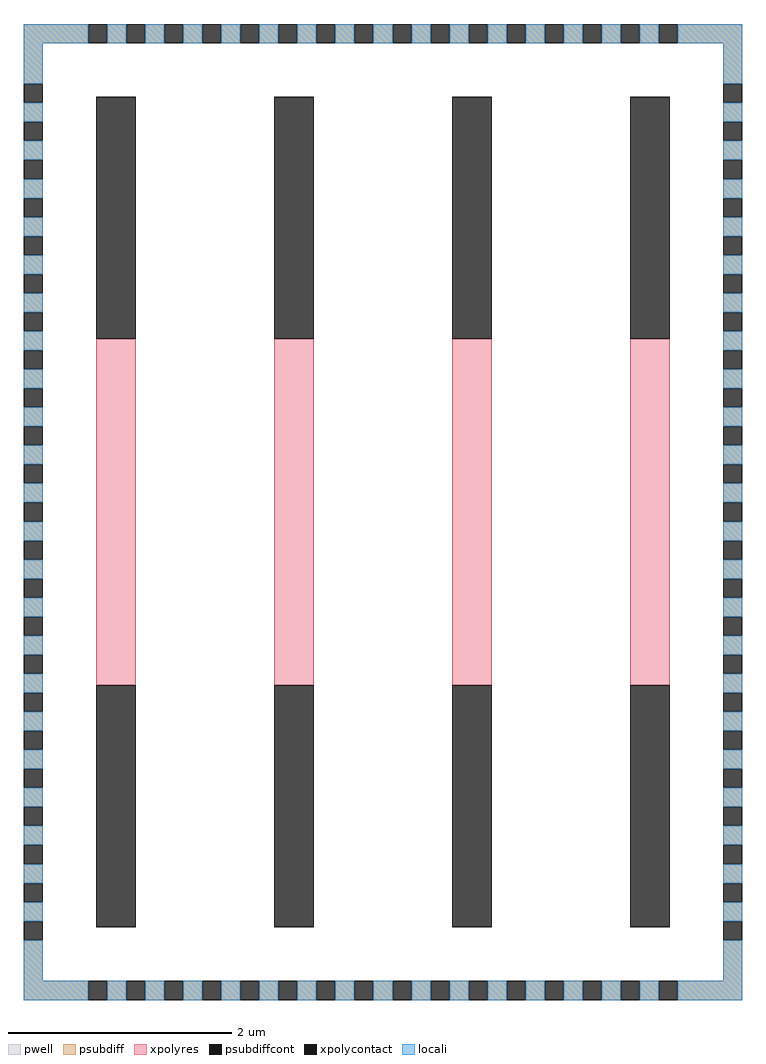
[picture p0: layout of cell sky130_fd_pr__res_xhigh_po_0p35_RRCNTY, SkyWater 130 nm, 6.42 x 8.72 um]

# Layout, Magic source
magic
tech sky130A
magscale 1 2
<< pwell >>
rect -642 838 642 872
rect -642 -838 -608 838
rect 608 -838 642 838
rect -642 -872 642 -838
<< psubdiff >>
rect -642 838 -527 872
rect -493 838 -459 872
rect -425 838 -391 872
rect -357 838 -323 872
rect -289 838 -255 872
rect -221 838 -187 872
rect -153 838 -119 872
rect -85 838 -51 872
rect -17 838 17 872
rect 51 838 85 872
rect 119 838 153 872
rect 187 838 221 872
rect 255 838 289 872
rect 323 838 357 872
rect 391 838 425 872
rect 459 838 493 872
rect 527 838 642 872
rect -642 765 -608 838
rect 608 765 642 838
rect -642 697 -608 731
rect -642 629 -608 663
rect -642 561 -608 595
rect -642 493 -608 527
rect -642 425 -608 459
rect -642 357 -608 391
rect -642 289 -608 323
rect -642 221 -608 255
rect -642 153 -608 187
rect -642 85 -608 119
rect -642 17 -608 51
rect -642 -51 -608 -17
rect -642 -119 -608 -85
rect -642 -187 -608 -153
rect -642 -255 -608 -221
rect -642 -323 -608 -289
rect -642 -391 -608 -357
rect -642 -459 -608 -425
rect -642 -527 -608 -493
rect -642 -595 -608 -561
rect -642 -663 -608 -629
rect -642 -731 -608 -697
rect 608 697 642 731
rect 608 629 642 663
rect 608 561 642 595
rect 608 493 642 527
rect 608 425 642 459
rect 608 357 642 391
rect 608 289 642 323
rect 608 221 642 255
rect 608 153 642 187
rect 608 85 642 119
rect 608 17 642 51
rect 608 -51 642 -17
rect 608 -119 642 -85
rect 608 -187 642 -153
rect 608 -255 642 -221
rect 608 -323 642 -289
rect 608 -391 642 -357
rect 608 -459 642 -425
rect 608 -527 642 -493
rect 608 -595 642 -561
rect 608 -663 642 -629
rect 608 -731 642 -697
rect -642 -838 -608 -765
rect 608 -838 642 -765
rect -642 -872 -527 -838
rect -493 -872 -459 -838
rect -425 -872 -391 -838
rect -357 -872 -323 -838
rect -289 -872 -255 -838
rect -221 -872 -187 -838
rect -153 -872 -119 -838
rect -85 -872 -51 -838
rect -17 -872 17 -838
rect 51 -872 85 -838
rect 119 -872 153 -838
rect 187 -872 221 -838
rect 255 -872 289 -838
rect 323 -872 357 -838
rect 391 -872 425 -838
rect 459 -872 493 -838
rect 527 -872 642 -838
<< psubdiffcont >>
rect -527 838 -493 872
rect -459 838 -425 872
rect -391 838 -357 872
rect -323 838 -289 872
rect -255 838 -221 872
rect -187 838 -153 872
rect -119 838 -85 872
rect -51 838 -17 872
rect 17 838 51 872
rect 85 838 119 872
rect 153 838 187 872
rect 221 838 255 872
rect 289 838 323 872
rect 357 838 391 872
rect 425 838 459 872
rect 493 838 527 872
rect -642 731 -608 765
rect -642 663 -608 697
rect -642 595 -608 629
rect -642 527 -608 561
rect -642 459 -608 493
rect -642 391 -608 425
rect -642 323 -608 357
rect -642 255 -608 289
rect -642 187 -608 221
rect -642 119 -608 153
rect -642 51 -608 85
rect -642 -17 -608 17
rect -642 -85 -608 -51
rect -642 -153 -608 -119
rect -642 -221 -608 -187
rect -642 -289 -608 -255
rect -642 -357 -608 -323
rect -642 -425 -608 -391
rect -642 -493 -608 -459
rect -642 -561 -608 -527
rect -642 -629 -608 -595
rect -642 -697 -608 -663
rect -642 -765 -608 -731
rect 608 731 642 765
rect 608 663 642 697
rect 608 595 642 629
rect 608 527 642 561
rect 608 459 642 493
rect 608 391 642 425
rect 608 323 642 357
rect 608 255 642 289
rect 608 187 642 221
rect 608 119 642 153
rect 608 51 642 85
rect 608 -17 642 17
rect 608 -85 642 -51
rect 608 -153 642 -119
rect 608 -221 642 -187
rect 608 -289 642 -255
rect 608 -357 642 -323
rect 608 -425 642 -391
rect 608 -493 642 -459
rect 608 -561 642 -527
rect 608 -629 642 -595
rect 608 -697 642 -663
rect 608 -765 642 -731
rect -527 -872 -493 -838
rect -459 -872 -425 -838
rect -391 -872 -357 -838
rect -323 -872 -289 -838
rect -255 -872 -221 -838
rect -187 -872 -153 -838
rect -119 -872 -85 -838
rect -51 -872 -17 -838
rect 17 -872 51 -838
rect 85 -872 119 -838
rect 153 -872 187 -838
rect 221 -872 255 -838
rect 289 -872 323 -838
rect 357 -872 391 -838
rect 425 -872 459 -838
rect 493 -872 527 -838
<< xpolycontact >>
rect -512 310 -442 742
rect -512 -742 -442 -310
rect -194 310 -124 742
rect -194 -742 -124 -310
rect 124 310 194 742
rect 124 -742 194 -310
rect 442 310 512 742
rect 442 -742 512 -310
<< xpolyres >>
rect -512 -310 -442 310
rect -194 -310 -124 310
rect 124 -310 194 310
rect 442 -310 512 310
<< locali >>
rect -642 838 -527 872
rect -493 838 -459 872
rect -425 838 -391 872
rect -357 838 -323 872
rect -289 838 -255 872
rect -221 838 -187 872
rect -153 838 -119 872
rect -85 838 -51 872
rect -17 838 17 872
rect 51 838 85 872
rect 119 838 153 872
rect 187 838 221 872
rect 255 838 289 872
rect 323 838 357 872
rect 391 838 425 872
rect 459 838 493 872
rect 527 838 642 872
rect -642 765 -608 838
rect 608 765 642 838
rect -642 697 -608 731
rect -642 629 -608 663
rect -642 561 -608 595
rect -642 493 -608 527
rect -642 425 -608 459
rect -642 357 -608 391
rect -642 289 -608 323
rect 608 697 642 731
rect 608 629 642 663
rect 608 561 642 595
rect 608 493 642 527
rect 608 425 642 459
rect 608 357 642 391
rect -642 221 -608 255
rect -642 153 -608 187
rect -642 85 -608 119
rect -642 17 -608 51
rect -642 -51 -608 -17
rect -642 -119 -608 -85
rect -642 -187 -608 -153
rect -642 -255 -608 -221
rect -642 -323 -608 -289
rect 608 289 642 323
rect 608 221 642 255
rect 608 153 642 187
rect 608 85 642 119
rect 608 17 642 51
rect 608 -51 642 -17
rect 608 -119 642 -85
rect 608 -187 642 -153
rect 608 -255 642 -221
rect -642 -391 -608 -357
rect -642 -459 -608 -425
rect -642 -527 -608 -493
rect -642 -595 -608 -561
rect -642 -663 -608 -629
rect -642 -731 -608 -697
rect 608 -323 642 -289
rect 608 -391 642 -357
rect 608 -459 642 -425
rect 608 -527 642 -493
rect 608 -595 642 -561
rect 608 -663 642 -629
rect 608 -731 642 -697
rect -642 -838 -608 -765
rect 608 -838 642 -765
rect -642 -872 -527 -838
rect -493 -872 -459 -838
rect -425 -872 -391 -838
rect -357 -872 -323 -838
rect -289 -872 -255 -838
rect -221 -872 -187 -838
rect -153 -872 -119 -838
rect -85 -872 -51 -838
rect -17 -872 17 -838
rect 51 -872 85 -838
rect 119 -872 153 -838
rect 187 -872 221 -838
rect 255 -872 289 -838
rect 323 -872 357 -838
rect 391 -872 425 -838
rect 459 -872 493 -838
rect 527 -872 642 -838
<< properties >>
string FIXED_BBOX -624 -854 624 854
<< end >>
